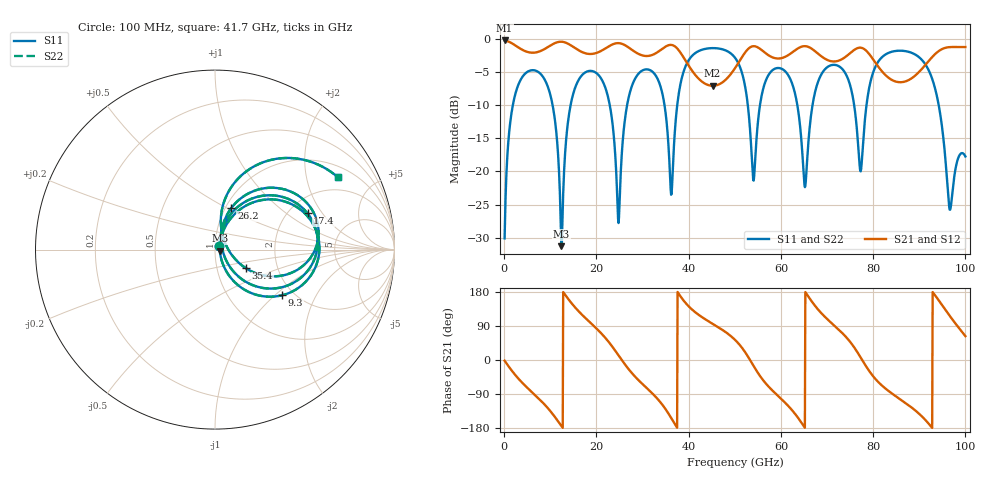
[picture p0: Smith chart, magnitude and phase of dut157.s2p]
! Touchstone file exported from HFSS 2026.1.0
!  File:  C:/ffzhzh/LocalFiles/Ansys_Project_Files/temp_train_TSV_RDL_157_1783646623_26216.aedt
!  Generated:  09:50:07 AM Jul 10, 2026
!  Design:  TSV_RDL
!  Project:  temp_train_TSV_RDL_157_1783646623_26216
! Variables:
!  h_bsmrdl = 4.71um
!  h_ox = 20um
!  h_rdl = 5um
!  h_sub = 56.42um
!  h_tmrdl = 2.76um
!  h_tsv = 56.42um
!  h_via = 3um
!  l_bsmrdl = 634.22um
!  l_sub = 4960.15um
!  l_tmrdl = 631.17um
!  m_sub = 200um
!  pitch = 53.24um
!  r_tsv = 7.63um
!  s_tmrdl = 10um
!  w_bsmrdl = 25.71um
!  w_sub = 500um
!  w_tmrdl = 18.56um
!  x_tsv_center1 = 640.45um
!  x_tsv_center2 = 1300.38um
!  x_tsv_center3 = 1950.11um
!  x_tsv_center4 = 2610.04um
!  x_tsv_center5 = 3259.77um
!  x_tsv_center6 = 3919.7um
# GHz S MA R 50.000000
! Terminal data exported
! Port[1] = TM_RDL1_1_T1
! Port[2] = TM_RDL5_1_T1
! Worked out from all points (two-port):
!   1000 points, 100 MHz to 100 GHz, reference 50 ohm
!   highest |S21| = -0.21 dB at 100 MHz (marker M1); lowest = -7.1 dB at 45.2 GHz (marker M2)
!   |S21| within 3 dB of the highest: start of sweep to 39.29 GHz; 51.13 GHz to 70.24 GHz (19.11 GHz wide, 31.5 % of centre) (the widest 2 of 4)
!   lowest |S11| = -31.3 dB at 12.4 GHz (marker M3), VSWR 1.06, Z = 52.7 - j0.595 ohm
!   |S11| at or under -10 dB: 10.51 GHz to 14.4 GHz (3.895 GHz wide, 31.3 % of centre); 22.9 GHz to 26.65 GHz (3.751 GHz wide, 15.1 % of centre); 94.22 GHz to end of sweep (the widest 3 of 8)
!   |S22| runs from -31.3 to -1.4 dB; largest |S21 - S12| = 7.3e-13
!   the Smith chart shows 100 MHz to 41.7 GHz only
!   S11 on the Smith chart (normalised r, x): 100 MHz: 1.05, +0.04; 9.3 GHz: 1.74, -1.11; 17.4 GHz: 2.52, +1.47; 26.2 GHz: 1.07, +0.53; 35.4 GHz: 1.38, -0.30; 41.7 GHz: 1.41, +3.08
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0.1  0.03118 37.4  0.9756 -1.8  0.9756 -1.8  0.03118 37.4
! Gamma 0 0 0 0
! Port Impedance 50 0 50 0
2.8  0.4251 41.1  0.8771 -45.1  0.8771 -45.1  0.4251 41.1
9.3  0.4522 -34.2  0.8617 -124.6  0.8617 -124.6  0.4522 -34.2
12.4  0.02725 -11.9  0.9547 -173.9  0.9547 -173.9  0.0271 -12.0
16.8  0.5295 28.1  0.7999 120.4  0.7999 120.4  0.5296 28.1
17.4  0.5541 21.4  0.7847 113.3  0.7847 113.3  0.5541 21.4
24.8  0.04074 13.2  0.9313 12.2  0.9313 12.2  0.04026 13.1
26.2  0.2492 68.5  0.8985 -11.8  0.8985 -11.8  0.249 68.6
33.4  0.4888 -11.7  0.8019 -104.6  0.8019 -104.6  0.4888 -11.7
35.4  0.2015 -31.1  0.8919 -137.1  0.8919 -137.1  0.2016 -31.0
41.7  0.7946 30.5  0.5224 123.5  0.5224 123.5  0.7946 30.5
45.2  0.8542 5.0  0.4435 95.5  0.4435 95.5  0.8542 5.0
50.1  0.7186 -33.6  0.606 52.6  0.606 52.6  0.7187 -33.5
54.1  0.08519 -8.7  0.8831 -16.1  0.8831 -16.1  0.08683 -8.8
57.9  0.5697 9.7  0.7342 -77.3  0.7342 -77.3  0.5699 9.6
66.7  0.2922 50.2  0.8446 154.4  0.8446 154.4  0.2923 50.0
73.2  0.5994 -15.0  0.7033 72.4  0.7033 72.4  0.5993 -15.2
77.1  0.1079 -14.0  0.8608 10.5  0.8608 10.5  0.1068 -14.4
83.4  0.7877 5.2  0.5082 -82.3  0.5082 -82.3  0.7877 5.2
93.9  0.3601 -94.6  0.7955 162.9  0.7955 162.9  0.3605 -94.5
96.6  0.0514 -60.2  0.8691 116.6  0.8691 116.6  0.05297 -60.6
100  0.1297 -23.2  0.8703 62.9  0.8703 62.9  0.1295 -24.0
